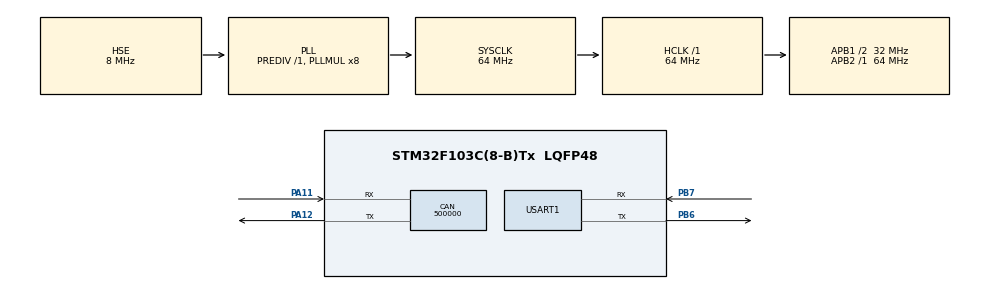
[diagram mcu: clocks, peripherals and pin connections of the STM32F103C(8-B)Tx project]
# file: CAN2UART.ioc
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CAN.BS2=CAN_BS2_2TQ
CAN.CalculateBaudRate=500000
CAN.CalculateTimeBit=2000
CAN.CalculateTimeQuantum=500.0
Mcu.Family=STM32F1
Mcu.Name=STM32F103C(8-B)Tx
Mcu.Package=LQFP48
NVIC.PriorityGroup=NVIC_PRIORITYGROUP_4
PA11.Mode=CAN_Activate
PA11.Signal=CAN_RX
PA12.Mode=CAN_Activate
PA12.Signal=CAN_TX
PB6.Mode=Asynchronous
PB6.Signal=USART1_TX
PB7.Mode=Asynchronous
PB7.Signal=USART1_RX
PD0-OSC_IN.Mode=HSE-External-Oscillator
PD0-OSC_IN.Signal=RCC_OSC_IN
PD1-OSC_OUT.Mode=HSE-External-Oscillator
PD1-OSC_OUT.Signal=RCC_OSC_OUT
ProjectManager.HeapSize=0x200
ProjectManager.StackSize=0x400
ProjectManager.TargetToolchain=STM32CubeIDE
RCC.AHBFreq_Value=64000000
RCC.APB1CLKDivider=RCC_HCLK_DIV2
RCC.APB1Freq_Value=32000000
RCC.APB1TimFreq_Value=64000000
RCC.APB2Freq_Value=64000000
RCC.APB2TimFreq_Value=64000000
RCC.HCLKFreq_Value=64000000
RCC.PLLMUL=RCC_PLL_MUL8
RCC.PLLSourceVirtual=RCC_PLLSOURCE_HSE
RCC.SYSCLKFreq_VALUE=64000000
RCC.SYSCLKSource=RCC_SYSCLKSOURCE_PLLCLK
RCC.USBFreq_Value=64000000
USART1.VirtualMode=VM_ASYNC
VP_SYS_VS_ND.Mode=No_Debug
board=custom

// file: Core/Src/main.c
/* USER CODE BEGIN Header */
/**
 ******************************************************************************
 * @file           : main.c
 * @brief          : Main program body
 ******************************************************************************
 * @attention
 *
 * Copyright (c) 2025 STMicroelectronics.
 * All rights reserved.
 *
 * This software is licensed under terms that can be found in the LICENSE file
 * in the root directory of this software component.
 * If no LICENSE file comes with this software, it is provided AS-IS.
 *
 ******************************************************************************
 */
/* USER CODE END Header */
#include "main.h"

/* USER CODE BEGIN Includes */
#include <string.h>

/* USER CODE END Includes */

/* USER CODE BEGIN PD */
#define VEC1 6
#define VEC2 7
#define VEC3 3
/* USER CODE END PD */

CAN_HandleTypeDef hcan;

UART_HandleTypeDef huart1;

/* USER CODE BEGIN PV */

uint16_t id_grupo1[VEC1] = { 0x00, 0x00, 0x00, 0x00, 0x00, 0x00 };
uint16_t id_grupo2[VEC2] = { 0x00, 0x00, 0x00, 0x00, 0x00, 0x00, 0x00 };
uint16_t id_grupo3[VEC3] = { 0x00, 0x00, 0x00 };

uint32_t datos_grupo1[VEC1 + 1] = { 1, 0, 0, 0, 0, 0, 0 };
uint32_t datos_grupo2[VEC2 + 1] = { 2, 0, 0, 0, 0, 0, 0, 0 };
uint32_t datos_grupo3[VEC3 + 1] = { 3, 0, 0, 0 };

CAN_RxHeaderTypeDef rxHeader;
uint8_t rxData[8];

/* USER CODE END PV */

void SystemClock_Config(void);
static void MX_GPIO_Init(void);
static void MX_CAN_Init(void);
static void MX_USART1_UART_Init(void);
/* USER CODE BEGIN PFP */
uint8_t copiado_vectores(uint16_t id, uint32_t data) {
	for (int i = 0; i < VEC1; i++) {
		if (id == id_grupo1[i]) {
			datos_grupo1[i + 1] = data;
			HAL_UART_Transmit(&huart1, (uint8_t*) datos_grupo1,
					sizeof(datos_grupo1), HAL_MAX_DELAY);
			return 1;
		}
	}
	for (int i = 0; i < VEC2; i++) {
		if (id == id_grupo2[i]) {
			datos_grupo2[i + 1] = data;
			HAL_UART_Transmit(&huart1, (uint8_t*) datos_grupo2,
					sizeof(datos_grupo2), HAL_MAX_DELAY);
			return 1;
		}
	}
	for (int i = 0; i < VEC3; i++) {
		if (id == id_grupo3[i]) {
			datos_grupo3[i + 1] = data;
			HAL_UART_Transmit(&huart1, (uint8_t*) datos_grupo3,
					sizeof(datos_grupo3), HAL_MAX_DELAY);
			return 1;
		}
	}
	return 0;
}
/* USER CODE END PFP */

int main(void) {

	/* MCU Configuration--------------------------------------------------------*/

	/* Reset of all peripherals, Initializes the Flash interface and the Systick. */
	HAL_Init();

	/* Configure the system clock */
	SystemClock_Config();

	/* Initialize all configured peripherals */
	MX_GPIO_Init();
	MX_CAN_Init();
	MX_USART1_UART_Init();
	/* USER CODE BEGIN 2 */

	HAL_CAN_Start(&hcan);
	if (HAL_CAN_ActivateNotification(&hcan, CAN_IT_RX_FIFO0_MSG_PENDING)
			!= HAL_OK) {
		Error_Handler();
	}

	/* USER CODE END 2 */

	/* Infinite loop */
	while (1) {

	}
}

void SystemClock_Config(void) {
	RCC_OscInitTypeDef RCC_OscInitStruct = { 0 };
	RCC_ClkInitTypeDef RCC_ClkInitStruct = { 0 };

	/** Initializes the RCC Oscillators according to the specified parameters
	 * in the RCC_OscInitTypeDef structure.
	 */
	RCC_OscInitStruct.OscillatorType = RCC_OSCILLATORTYPE_HSE;
	RCC_OscInitStruct.HSEState = RCC_HSE_ON;
	RCC_OscInitStruct.HSEPredivValue = RCC_HSE_PREDIV_DIV1;
	RCC_OscInitStruct.HSIState = RCC_HSI_ON;
	RCC_OscInitStruct.PLL.PLLState = RCC_PLL_ON;
	RCC_OscInitStruct.PLL.PLLSource = RCC_PLLSOURCE_HSE;
	RCC_OscInitStruct.PLL.PLLMUL = RCC_PLL_MUL8;
	if (HAL_RCC_OscConfig(&RCC_OscInitStruct) != HAL_OK) {
		Error_Handler();
	}

	/** Initializes the CPU, AHB and APB buses clocks
	 */
	RCC_ClkInitStruct.ClockType = RCC_CLOCKTYPE_HCLK | RCC_CLOCKTYPE_SYSCLK
			| RCC_CLOCKTYPE_PCLK1 | RCC_CLOCKTYPE_PCLK2;
	RCC_ClkInitStruct.SYSCLKSource = RCC_SYSCLKSOURCE_PLLCLK;
	RCC_ClkInitStruct.AHBCLKDivider = RCC_SYSCLK_DIV1;
	RCC_ClkInitStruct.APB1CLKDivider = RCC_HCLK_DIV2;
	RCC_ClkInitStruct.APB2CLKDivider = RCC_HCLK_DIV1;

	if (HAL_RCC_ClockConfig(&RCC_ClkInitStruct, FLASH_LATENCY_2) != HAL_OK) {
		Error_Handler();
	}
}

static void MX_CAN_Init(void) {

	hcan.Instance = CAN1;
	hcan.Init.Prescaler = 16;
	hcan.Init.Mode = CAN_MODE_NORMAL;
	hcan.Init.SyncJumpWidth = CAN_SJW_1TQ;
	hcan.Init.TimeSeg1 = CAN_BS1_1TQ;
	hcan.Init.TimeSeg2 = CAN_BS2_2TQ;
	hcan.Init.TimeTriggeredMode = DISABLE;
	hcan.Init.AutoBusOff = DISABLE;
	hcan.Init.AutoWakeUp = DISABLE;
	hcan.Init.AutoRetransmission = DISABLE;
	hcan.Init.ReceiveFifoLocked = DISABLE;
	hcan.Init.TransmitFifoPriority = DISABLE;
	if (HAL_CAN_Init(&hcan) != HAL_OK) {
		Error_Handler();
	}

}

static void MX_USART1_UART_Init(void) {

	huart1.Instance = USART1;
	huart1.Init.BaudRate = 115200;
	huart1.Init.WordLength = UART_WORDLENGTH_8B;
	huart1.Init.StopBits = UART_STOPBITS_1;
	huart1.Init.Parity = UART_PARITY_NONE;
	huart1.Init.Mode = UART_MODE_TX_RX;
	huart1.Init.HwFlowCtl = UART_HWCONTROL_NONE;
	huart1.Init.OverSampling = UART_OVERSAMPLING_16;
	if (HAL_UART_Init(&huart1) != HAL_OK) {
		Error_Handler();
	}

}

static void MX_GPIO_Init(void) {

	/* GPIO Ports Clock Enable */
	__HAL_RCC_GPIOD_CLK_ENABLE();
	__HAL_RCC_GPIOA_CLK_ENABLE();
	__HAL_RCC_GPIOB_CLK_ENABLE();

}

/* USER CODE BEGIN 4 */

void HAL_CAN_RxFifo0MsgPendingCallback(CAN_HandleTypeDef *hcan) {
	if (HAL_CAN_GetRxMessage(hcan, CAN_RX_FIFO0, &rxHeader, rxData) == HAL_OK) {
		uint32_t valor;
		memcpy(&valor, rxData, sizeof(uint32_t));
		copiado_vectores(rxHeader.StdId, valor);
	}
}

/* USER CODE END 4 */

void Error_Handler(void) {
	__disable_irq();
	while (1) {
	}
}
